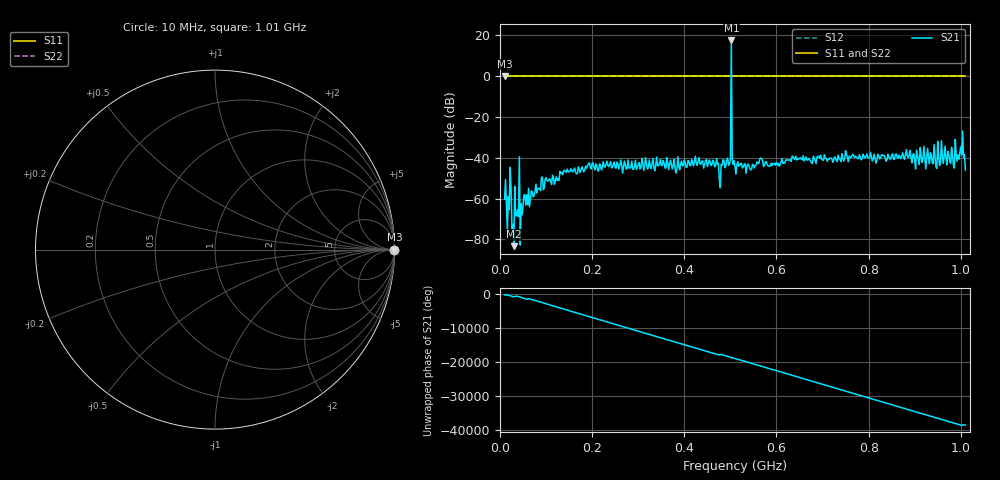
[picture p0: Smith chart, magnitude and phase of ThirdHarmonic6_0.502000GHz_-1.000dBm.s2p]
! 8/15/2025 3:07:54 PM
! C:\ANRITSUVNA\TEMP\TEMP.S2P
! CHANNEL.1
! TR.MEASUREMENT
! RAW.DATA
! RF.CORRECTION.OFF
! AVERAGING.OFF
! IF.BANDWIDTH: 5KHZ
! SWEEPTYPE:  FREQ.SWEEP(Linear)
! Reference Plane Port Info
! PORT:  PORT1  PORT2
! DISTANCE:  0  m  0  m
! TIME:  0  s  0  s
! PHASE.OFFSET:  0  deg.  0  deg.
! LOSS:  0  dB  0  dB
! REF.LOSS:  0  dB  0  dB
! REF.FREQ:  0  Hz  0  Hz
! Power Info
! POWER:  -20  dBm  -20  dBm
! EFF.POWER:  -20  dBm  -20  dBm
! SOURCE.ATTEN:  0  dB  0  dB
! TEST.ATTEN:  0  dB  0  dB
# GHZ S RI R 50.0
! FREQ.GHZ  S11RE  S11IM  S21RE  S21IM  S12RE  S12IM  S22RE  S22IM
!; PortSelection: Port_12
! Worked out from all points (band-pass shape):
!   501 points, 10 MHz to 1.01 GHz, reference 50 ohm
!   highest |S21| = 17.45 dB at 502 MHz (marker M1); lowest = -83.3 dB at 30 MHz (marker M2)
!   |S21| within 3 dB of the highest: 501.897 MHz to 502.1038 MHz (206.8 kHz wide, 0.0412 % of centre)
!   lowest |S11| = 0.0 dB at 10 MHz (marker M3)
!   |S11| at or under -10 dB: nowhere
!   |S22| runs from 0.0 to 0.0 dB; largest |S21 - S12| = 6.6
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0.01  1 0  -0.000934 -0.000246  1 0  1 0
0.022  1 0  0.0057 -0.000957  1 0  1 0
0.03  1 0  6.4e-06 6.79e-05  1 0  1 0
0.038  1 0  -0.000508 0.000141  1 0  1 0
0.048  1 0  0.00026 0.0003  1 0  1 0
0.054  1 0  -0.00124 0.000146  1 0  1 0
0.094  1 0  0.00159 -0.000433  1 0  1 0
0.178  1 0  -0.00586 -0.00118  1 0  1 0
0.344  1 0  0.00627 -0.00106  1 0  1 0
0.466  1 0  -0.0039 0.00459  1 0  1 0
0.478  1 0  -0.000587 -0.00175  1 0  1 0
0.496  1 0  0.00651 0.000573  1 0  1 0
0.498  1 0  0.00278 -0.00638  1 0  1 0
0.502  1 0  6.592 3.493  1 0  1 0
0.506  1 0  0.00616 -0.00309  1 0  1 0
0.508  1 0  -0.00387 -0.00753  1 0  1 0
0.51  1 0  -0.00521 0.00331  1 0  1 0
0.678  1 0  0.00135 -0.0071  1 0  1 0
0.844  1 0  0.000716 0.0105  1 0  1 0
0.982  1 0  0.000983 -0.0114  1 0  1 0
1.002  1 0  -0.0102 -0.00585  1 0  1 0
1.01  1 0  0.00153 -0.00475  1 0  1 0
